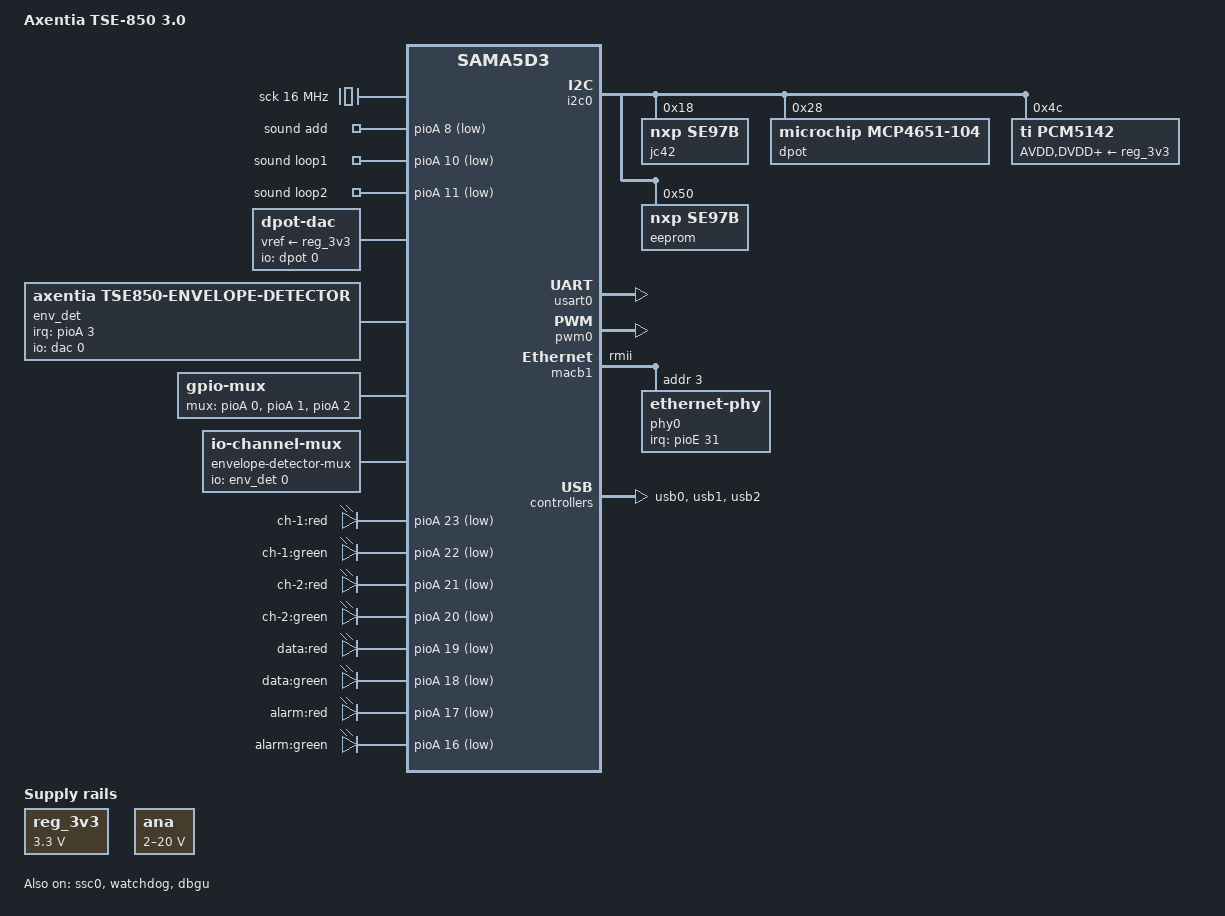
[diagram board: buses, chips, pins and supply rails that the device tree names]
// SPDX-License-Identifier: GPL-2.0-or-later
/*
 * at91-tse850-3.dts - Device Tree file for the Axentia TSE-850 3.0 board
 *
 * Copyright (C) 2017 Axentia Technologies AB
 *
 * Author: Peter Rosin <peda@axentia.se>
 */
/dts-v1/;
#include <dt-bindings/pwm/pwm.h>
#include "at91-linea.dtsi"

/ {
	model = "Axentia TSE-850 3.0";
	compatible = "axentia,tse850v3", "axentia,linea",
		     "atmel,sama5d31", "atmel,sama5d3", "atmel,sama5";

	sck: oscillator {
		compatible = "fixed-clock";

		#clock-cells = <0>;
		clock-frequency = <16000000>;
		clock-output-names = "sck";
	};

	reg_3v3: regulator {
		compatible = "regulator-fixed";

		regulator-name = "3v3-supply";
		regulator-min-microvolt = <3300000>;
		regulator-max-microvolt = <3300000>;
	};

	ana: reg-ana {
		compatible = "pwm-regulator";

		regulator-name = "ANA";

		pwms = <&pwm0 2 1000 PWM_POLARITY_INVERTED>;
		pwm-dutycycle-unit = <1000>;
		pwm-dutycycle-range = <100 1000>;

		regulator-min-microvolt = <2000000>;
		regulator-max-microvolt = <20000000>;
		regulator-ramp-delay = <1000>;
	};

	sound {
		compatible = "axentia,tse850-pcm5142";

		axentia,cpu-dai = <&ssc0>;
		axentia,audio-codec = <&pcm5142>;

		axentia,add-gpios = <&pioA 8 GPIO_ACTIVE_LOW>;
		axentia,loop1-gpios = <&pioA 10 GPIO_ACTIVE_LOW>;
		axentia,loop2-gpios = <&pioA 11 GPIO_ACTIVE_LOW>;

		axentia,ana-supply = <&ana>;
	};

	dac: dpot-dac {
		compatible = "dpot-dac";
		vref-supply = <&reg_3v3>;
		io-channels = <&dpot 0>;
		io-channel-names = "dpot";
		#io-channel-cells = <1>;
	};

	env_det: envelope-detector {
		compatible = "axentia,tse850-envelope-detector";
		io-channels = <&dac 0>;
		io-channel-names = "dac";
		#io-channel-cells = <1>;

		interrupt-parent = <&pioA>;
		interrupts = <3 IRQ_TYPE_EDGE_RISING>;
		interrupt-names = "comp";
	};

	mux: mux-controller {
		compatible = "gpio-mux";
		#mux-control-cells = <0>;

		mux-gpios = <&pioA 0 GPIO_ACTIVE_HIGH>,
			    <&pioA 1 GPIO_ACTIVE_HIGH>,
			    <&pioA 2 GPIO_ACTIVE_HIGH>;
		idle-state = <0>;
	};

	envelope-detector-mux {
		compatible = "io-channel-mux";
		io-channels = <&env_det 0>;
		io-channel-names = "parent";

		mux-controls = <&mux>;

		channels = "", "",
			 "sync-1",
			 "in",
			 "out",
			 "sync-2",
			 "sys-reg",
			 "ana-reg";
	};

	leds {
		compatible = "gpio-leds";

		led-ch1-red {
			label = "ch-1:red";
			gpios = <&pioA 23 GPIO_ACTIVE_LOW>;
		};
		led-ch1-green {
			label = "ch-1:green";
			gpios = <&pioA 22 GPIO_ACTIVE_LOW>;
		};
		led-ch2-red {
			label = "ch-2:red";
			gpios = <&pioA 21 GPIO_ACTIVE_LOW>;
		};
		led-ch2-green {
			label = "ch-2:green";
			gpios = <&pioA 20 GPIO_ACTIVE_LOW>;
		};
		led-data-red {
			label = "data:red";
			gpios = <&pioA 19 GPIO_ACTIVE_LOW>;
		};
		led-data-green {
			label = "data:green";
			gpios = <&pioA 18 GPIO_ACTIVE_LOW>;
		};
		led-alarm-red {
			label = "alarm:red";
			gpios = <&pioA 17 GPIO_ACTIVE_LOW>;
		};
		led-alarm-green {
			label = "alarm:green";
			gpios = <&pioA 16 GPIO_ACTIVE_LOW>;
		};
	};
};

&nand {
	partitions {
		compatible = "fixed-partitions";
		#address-cells = <1>;
		#size-cells = <1>;

		at91bootstrap@0 {
			label = "at91bootstrap";
			reg = <0x0 0x40000>;
		};

		barebox@40000 {
			label = "bootloader";
			reg = <0x40000 0x60000>;
		};

		bareboxenv@c0000 {
			label = "bareboxenv";
			reg = <0xc0000 0x40000>;
		};

		bareboxenv2@100000 {
			label = "bareboxenv2";
			reg = <0x100000 0x40000>;
		};

		oftree@180000 {
			label = "oftree";
			reg = <0x180000 0x20000>;
		};

		kernel@200000 {
			label = "kernel";
			reg = <0x200000 0x500000>;
		};

		rootfs@800000 {
			label = "rootfs";
			reg = <0x800000 0x0f800000>;
		};

		ovlfs@10000000 {
			label = "ovlfs";
			reg = <0x10000000 0x10000000>;
		};
	};
};

&ssc0 {
	#sound-dai-cells = <0>;

	status = "okay";
};

&i2c0 {
	status = "okay";

	jc42@18 {
		compatible = "nxp,se97b", "jedec,jc-42.4-temp";
		reg = <0x18>;
		smbus-timeout-disable;
	};

	dpot: mcp4651-104@28 {
		compatible = "microchip,mcp4651-104";
		reg = <0x28>;
		#io-channel-cells = <1>;
	};

	pcm5142: pcm5142@4c {
		compatible = "ti,pcm5142";

		reg = <0x4c>;
		#sound-dai-cells = <0>;

		AVDD-supply = <&reg_3v3>;
		DVDD-supply = <&reg_3v3>;
		CPVDD-supply = <&reg_3v3>;

		clocks = <&sck>;

		pll-in = <3>;
		pll-out = <6>;
	};

	eeprom@50 {
		compatible = "nxp,se97b", "atmel,24c02";
		reg = <0x50>;
		pagesize = <16>;
	};
};

&pinctrl {
	tse850 {
		pinctrl_usba_vbus: usba-vbus {
			atmel,pins = <AT91_PIOC 31 AT91_PERIPH_GPIO
				      AT91_PINCTRL_DEGLITCH>;
		};
	};
};

&watchdog {
	status = "okay";
};

&usart0 {
	status = "okay";

	atmel,use-dma-rx;
};

&pwm0 {
	status = "okay";

	pinctrl-0 = <&pinctrl_pwm0_pwml2_1>;
	pinctrl-names = "default";
};

&macb1 {
	status = "okay";

	phy-mode = "rmii";

	#address-cells = <1>;
	#size-cells = <0>;

	phy0: ethernet-phy@3 {
		reg = <3>;

		interrupt-parent = <&pioE>;
		interrupts = <31 IRQ_TYPE_EDGE_FALLING>;
	};
};

&usb0 {
	status = "okay";

	pinctrl-names = "default";
	pinctrl-0 = <&pinctrl_usba_vbus>;
	atmel,vbus-gpio = <&pioC 31 GPIO_ACTIVE_HIGH>;
};

&usb1 {
	status = "okay";

	num-ports = <1>;
	atmel,vbus-gpio = <&pioD 29 GPIO_ACTIVE_HIGH>;
	atmel,oc-gpio = <&pioC 15 GPIO_ACTIVE_LOW>;
};

&usb2 {
	status = "okay";
};

&dbgu {
	status = "okay";

	dmas = <0>, <0>;	/*  Do not use DMA for dbgu */
};

&pioA {
	gpio-line-names =
	/*  0 */	"SUP-A", "SUP-B", "SUP-C", "SIG<LEV",
	/*  4 */	"", "/RFRST", "", "",
	/*  8 */	"/ADD", "", "/LOOP1", "/LOOP2",
	/* 12 */	"", "", "", "",
	/* 16 */	"LED1GREEN", "LED1RED", "LED2GREEN", "LED2RED",
	/* 20 */	"LED3GREEN", "LED3RED", "LED4GREEN", "LED4RED",
	/* 24 */	"", "", "", "",
	/* 28 */	"", "", "SDA", "SCL";
};

&pioB {
	gpio-line-names =
	/*  0 */	"", "", "", "",
	/*  4 */	"", "", "", "",
	/*  8 */	"", "", "", "",
	/* 12 */	"", "", "", "",
	/* 16 */	"", "", "", "",
	/* 20 */	"", "", "", "",
	/* 24 */	"", "", "SIG<LIN", "SIG>LIN",
	/* 28 */	"RXD", "TXD", "BRX", "BTX";
};

&pioC {
	gpio-line-names =
	/*  0 */	"ETX0", "ETX1", "ERX0", "ERX1",
	/*  4 */	"ETXEN", "ECRSDV", "ERXER", "EREFCK",
	/*  8 */	"EMDC", "EMDIO", "", "",
	/* 12 */	"", "", "", "/ILIM",
	/* 16 */	"BCK", "LRCK", "DIN", "",
	/* 20 */	"", "", "", "",
	/* 24 */	"", "", "", "",
	/* 28 */	"", "", "", "VBUS";
};

&pioD {
	gpio-line-names =
	/*  0 */	"I1", "I2", "O1", "EXTVEN",
	/*  4 */	"", "456KHZ", "VCTRL", "SYNCSEL",
	/*  8 */	"STEREO", "", "", "",
	/* 12 */	"", "", "", "",
	/* 16 */	"", ">LIN", "LIN>", "",
	/* 20 */	"VREFEN", "", "", "",
	/* 24 */	"", "", "VINOK", "",
	/* 28 */	"POEOK", "USBON", "POELOAD", "";
};

&pioE {
	gpio-line-names =
	/*  0 */	"", "", "", "",
	/*  4 */	"", "", "", "",
	/*  8 */	"", "", "", "",
	/* 12 */	"", "", "", "",
	/* 16 */	"", "", "", "",
	/* 20 */	"", "ALE", "CLE", "",
	/* 24 */	"", "", "", "",
	/* 28 */	"", "", "", "/ETHINT";
};
